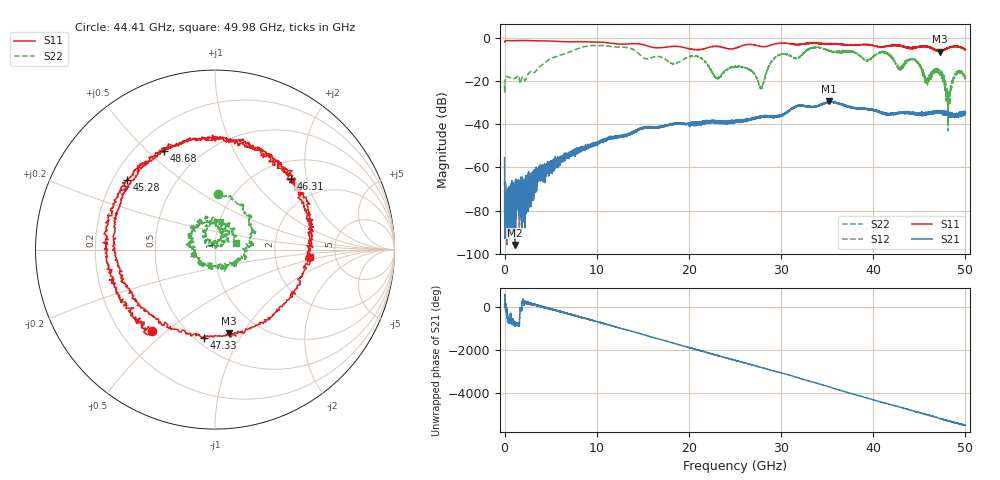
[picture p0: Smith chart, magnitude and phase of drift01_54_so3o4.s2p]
!Created with skrf (http://scikit-rf.org).
# Hz S RI R 50.0
!freq ReS11 ImS11 ReS21 ImS21 ReS12 ImS12 ReS22 ImS22
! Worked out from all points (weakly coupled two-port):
!   10001 points, 300 kHz to 50 GHz, reference 50 ohm
!   highest |S21| = -29.55 dB at 35.23 GHz (marker M1); lowest = -95.9 dB at 1.115 GHz (marker M2)
!   lowest |S11| = -6.5 dB at 47.24 GHz (marker M3), VSWR 2.79, Z = 36.4 - j43.7 ohm
!   |S11| at or under -10 dB: nowhere
!   |S22| runs from -43.1 to -3.6 dB; largest |S21 - S12| = 0.0037
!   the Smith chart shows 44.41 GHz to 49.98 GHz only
!   S11 on the Smith chart (normalised r, x): 44.41 GHz: 0.33, -0.45; 45.28 GHz: 0.26, +0.33; 46.31 GHz: 1.36, +1.61; 47.33 GHz: 0.56, -0.72; 48.68 GHz: 0.32, +0.56; 49.98 GHz: 3.19, -0.37
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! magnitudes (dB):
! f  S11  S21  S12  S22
! 300 kHz  -2.1  -55.6  -66.2  -22.0
! 255.3 MHz  -1.4  -79.2  -80.0  -18.0
! 1.115 GHz  -1.4  -95.9  -76.7  -18.9
! 8.335 GHz  -1.9  -51.7  -51.4  -4.5
! 16.67 GHz  -4.8  -41.4  -41.4  -8.7
! 20.97 GHz  -5.6  -39.7  -40.0  -8.8
! 23.07 GHz  -4.1  -38.6  -39.2  -18.6
! 25 GHz  -5.0  -38.9  -38.3  -13.7
! 27.84 GHz  -4.1  -36.3  -36.6  -23.0
! 29.48 GHz  -2.8  -36.5  -36.5  -8.7
! 33.34 GHz  -2.6  -32.0  -32.0  -4.7
! 35.23 GHz  -3.0  -29.5  -29.6  -6.0
! 41.67 GHz  -3.8  -35.3  -35.4  -7.4
! 44.41 GHz  -4.8  -34.9  -35.2  -10.1
! 45.28 GHz  -4.1  -35.5  -35.2  -15.4
! 46.31 GHz  -4.8  -35.4  -34.5  -16.8
! 47.24 GHz  -6.5  -34.7  -34.0  -17.0
! 47.33 GHz  -6.1  -34.1  -34.6  -15.6
! 48.12 GHz  -4.9  -34.9  -35.5  -33.0
! 48.68 GHz  -4.2  -36.4  -35.5  -19.5
! 49.98 GHz  -5.5  -34.2  -35.2  -18.1
! 50 GHz  -5.6  -35.1  -34.6  -18.2
